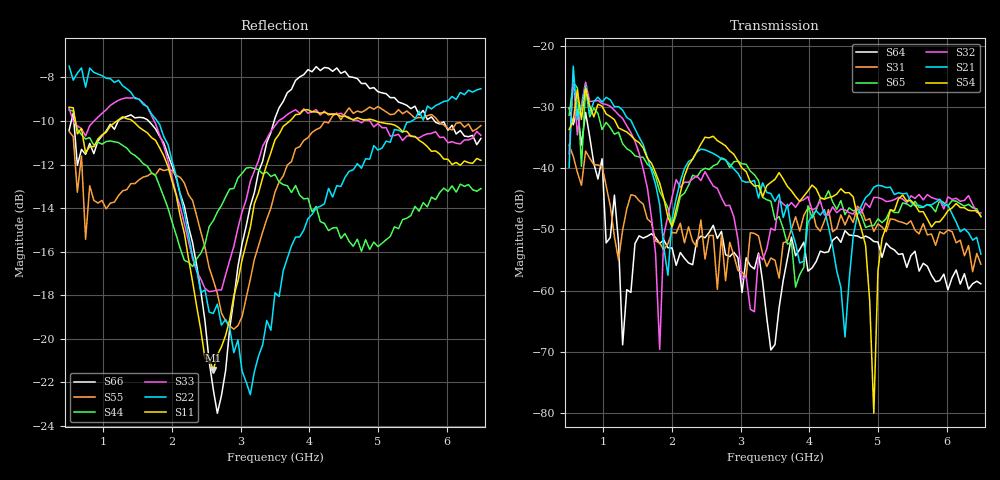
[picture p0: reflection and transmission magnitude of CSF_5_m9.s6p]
!Keysight Technologies,M9804A,MY58100912,A.14.10.03
!Date: Thursday, April 27, 2023 10:28:33
!Correction: S11(C  6-Port  )
!S12(C  6-Port  )
!S13(C  6-Port  )
!S14(C  6-Port  )
!S15(C  6-Port  )
!S16(C  6-Port  )
!S21(C  6-Port  )
!S22(C  6-Port  )
!S23(C  6-Port  )
!S24(C  6-Port  )
!S25(C  6-Port  )
!S26(C  6-Port  )
!S31(C  6-Port  )
!S32(C  6-Port  )
!S33(C  6-Port  )
!S34(C  6-Port  )
!S35(C  6-Port  )
!S36(C  6-Port  )
!S41(C  6-Port  )
!S42(C  6-Port  )
!S43(C  6-Port  )
!S44(C  6-Port  )
!S45(C  6-Port  )
!S46(C  6-Port  )
!S51(C  6-Port  )
!S52(C  6-Port  )
!S53(C  6-Port  )
!S54(C  6-Port  )
!S55(C  6-Port  )
!S56(C  6-Port  )
!S61(C  6-Port  )
!S62(C  6-Port  )
!S63(C  6-Port  )
!S64(C  6-Port  )
!S65(C  6-Port  )
!S66(C  6-Port  )
!S6P File: Measurement: :
# Hz S  RI  R 50
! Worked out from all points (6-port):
!   101 points, 500 MHz to 6.5 GHz, reference 50 ohm
!   strongest paths, dB at 500 MHz, 2 GHz, 3.5 GHz, 5 GHz, 6.5 GHz:
!     S54: -33.7, -49.6, -41.8, -56.8, -47.8
!     S21: -39.9, -48.3, -45.4, -42.8, -54.0
!     S32: -37.7, -44.7, -50.2, -44.8, -47.3
!     S65: -31.4, -49.6, -48.5, -48.3, -48.0
!     S31: -36.2, -50.5, -55.0, -49.1, -55.7
!     S64: -30.2, -53.0, -68.8, -52.1, -58.9
!   lowest |S11| = -21.4 dB at 2.6 GHz (marker M1), VSWR 1.19, Z = 42.5 + j2.14 ohm
!   |S11| at or under -10 dB: 590.3 MHz to 1.197 GHz (607.1 MHz wide, 67.9 % of centre); 1.424 GHz to 3.716 GHz (2.292 GHz wide, 89.2 % of centre); 4.968 GHz to end of sweep
